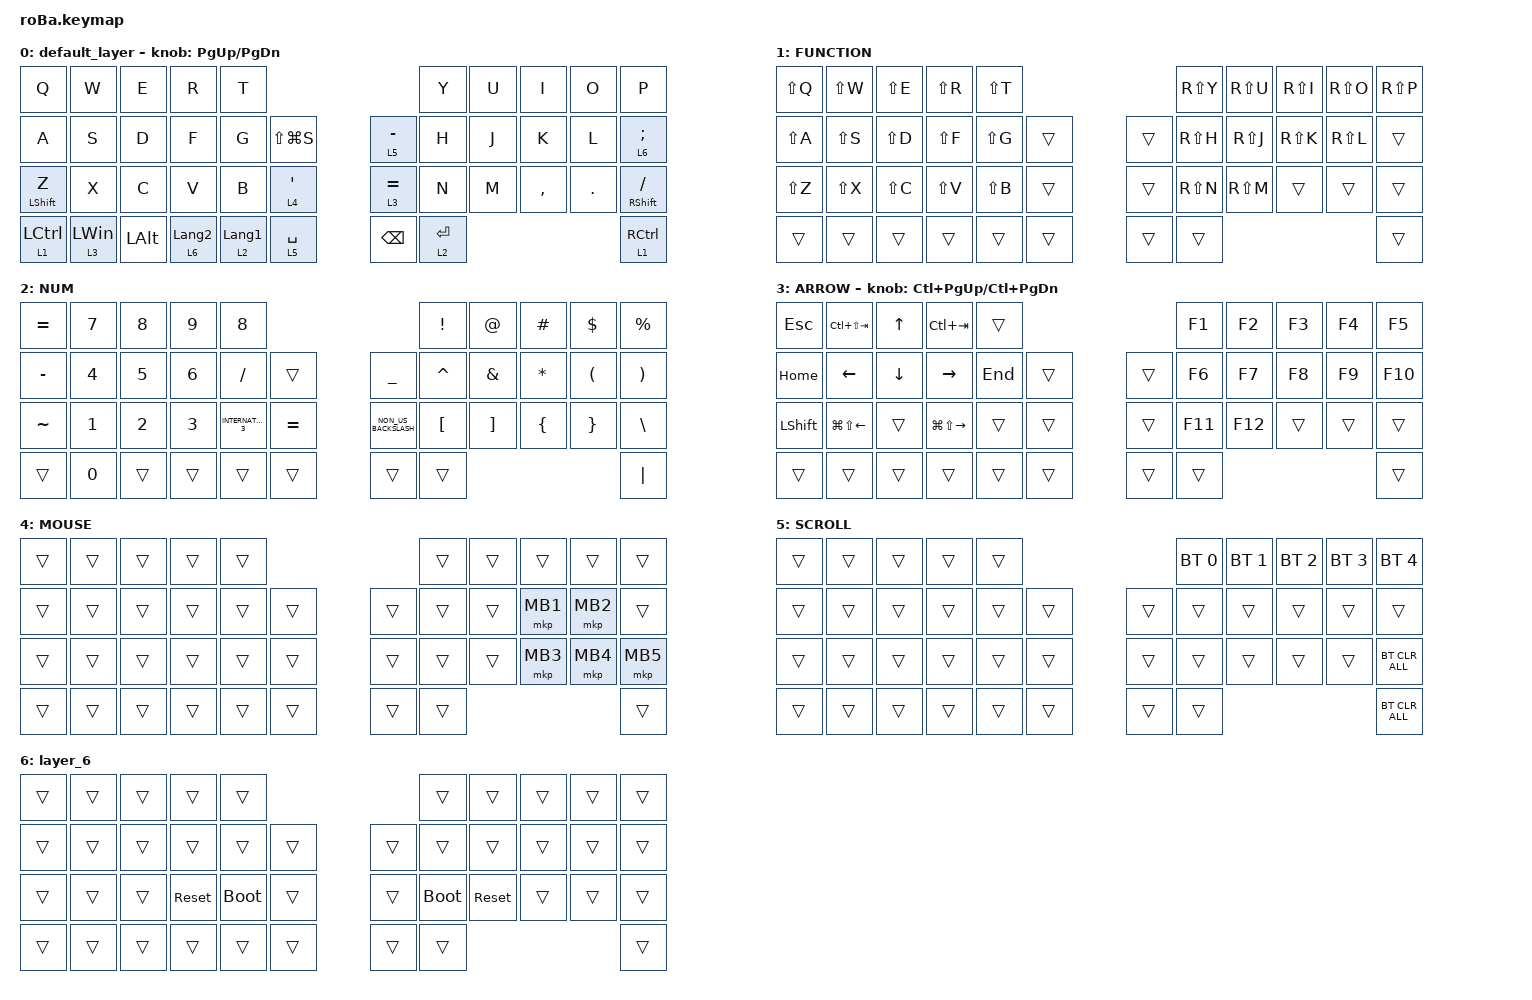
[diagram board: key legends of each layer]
#include <dt-bindings/zmk/input_transform.h> // ★反転と角度調整に必須のファイルを追記しました
#include <behaviors.dtsi>
#include <dt-bindings/zmk/bt.h>
#include <dt-bindings/zmk/keys.h>
#include <dt-bindings/zmk/pointing.h>

&mt {
    flavor = "balanced";
    quick-tap-ms = <0>;
};

&trackball {
    status = "okay"; // ★明示的に有効化しておきます
    automouse-layer = <4>;
    scroll-layers = <5>;

    // arrows {
    //     layers = <3>;
    //     bindings =
    //         <&kp RIGHT_ARROW>,
    //         <&kp LEFT_ARROW>,
    //         <&kp UP_ARROW>,
    //         <&kp DOWN_ARROW>;
    //     tick = <10>;
    //     wait-ms = <5>;
    //     tap-ms = <5>;
    // };
};

/ {
    #ifdef SHIELD_ROBA_R

    trackball_listener {
        status = "okay";
        compatible = "zmk,input-listener";
        device = <&trackball>;

        /* 
         * 【0.3専用修正】
         * 1. 155度の回転
         * 2. X反転・Y反転（Mac等の方向合わせ）
         * 3. 「&zip_xy_scaler 100 120」を追加：横(X)を100%、縦(Y)を120%に補正します。
         * 
         * ※もし「横長の楕円」になる場合は、右側の数値を「130」や「140」に増やしてください。
         * ※もし「縦長の楕円」になる場合は、左側の数値を「120」などに増やしてください。
         */

        input-processors =
            <&zip_xy_transform 155 | INPUT_TRANSFORM_Y_INVERT | INPUT_TRANSFORM_X_INVERT>,
            <&zip_xy_scaler 100 120>;
    };

    #endif

    combos {
        compatible = "zmk,combos";

        tab {
            bindings = <&kp TAB>;
            key-positions = <11 12>;
        };

        shift_tab {
            bindings = <&kp LS(TAB)>;
            key-positions = <12 13>;
        };

        muhennkann {
            bindings = <&to_layer_0 INT_MUHENKAN>;
            key-positions = <11 10>;
        };

        double_quotation {
            bindings = <&kp DOUBLE_QUOTES>;
            key-positions = <20 21>;
        };

        eq {
            bindings = <&kp EQUAL>;
            key-positions = <24 25>;
        };
    };

    macros {
        to_layer_0: to_layer_0 {
            compatible = "zmk,behavior-macro-one-param";
            #binding-cells = <1>;
            bindings = <&to 0 &macro_param_1to1 &kp MACRO_PLACEHOLDER>;
            label = "TO_LAYER_0";
        };
    };

    behaviors {
        lt_to_layer_0: lt_to_layer_0 {
            compatible = "zmk,behavior-hold-tap";
            label = "LAYER_TAP_TO_0";
            bindings = <&mo>, <&to_layer_0>;

            #binding-cells = <2>;
            tapping-term-ms = <200>;
        };
    };

    keymap {
        compatible = "zmk,keymap";

        default_layer {
            bindings = <
&kp Q             &kp W           &kp E         &kp R             &kp T                                                  &kp Y        &kp U  &kp I      &kp O    &kp P
&kp A             &kp S           &kp D         &kp F             &kp G             &kp LS(LG(S))         &lt 5 MINUS    &kp H        &kp J  &kp K      &kp L    &lt 6 SEMICOLON
&mt LEFT_SHIFT Z  &kp X           &kp C         &kp V             &kp B             &lt 4 APOSTROPHE      &lt 3 EQUAL    &kp N        &kp M  &kp COMMA  &kp DOT  &mt RIGHT_SHIFT SLASH
&lt 1 LCTRL       &lt 3 LEFT_WIN  &kp LEFT_ALT  &lt 6 LANGUAGE_2  &lt 2 LANGUAGE_1  &lt 5 SPACE           &kp BACKSPACE  &lt 2 ENTER                             &lt 1 RCTRL
            >;

            sensor-bindings = <&inc_dec_kp PG_UP PAGE_DOWN>;
        };

        FUNCTION {
            bindings = <
&kp LS(Q)  &kp LS(W)  &kp LS(E)  &kp LS(R)  &kp LS(T)                      &kp RS(Y)  &kp RS(U)  &kp RS(I)  &kp RS(O)  &kp RS(P)
&kp LS(A)  &kp LS(S)  &kp LS(D)  &kp LS(F)  &kp LS(G)  &trans      &trans  &kp RS(H)  &kp RS(J)  &kp RS(K)  &kp RS(L)  &trans
&kp LS(Z)  &kp LS(X)  &kp LS(C)  &kp LS(V)  &kp LS(B)  &trans      &trans  &kp RS(N)  &kp RS(M)  &trans     &trans     &trans
&trans     &trans     &trans     &trans     &trans     &trans      &trans  &trans                                      &trans
            >;
        };

        NUM {
            bindings = <
&kp EQUAL  &kp N7        &kp N8  &kp N9  &kp N8                                                    &kp EXCLAMATION   &kp AT_SIGN        &kp HASH        &kp DOLLAR            &kp PERCENT
&kp MINUS  &kp NUMBER_4  &kp N5  &kp N6  &kp SLASH            &trans         &kp UNDERSCORE        &kp CARET         &kp AMPERSAND      &kp ASTERISK    &kp LEFT_PARENTHESIS  &kp RIGHT_PARENTHESIS
&kp TILDE  &kp N1        &kp N2  &kp N3  &kp INTERNATIONAL_3  &kp EQUAL      &kp NON_US_BACKSLASH  &kp LEFT_BRACKET  &kp RIGHT_BRACKET  &kp LEFT_BRACE  &kp RIGHT_BRACE       &kp BACKSLASH
&trans     &kp N0        &trans  &trans  &trans               &trans         &trans                &trans                                                                     &kp PIPE
            >;
        };

        ARROW {
            bindings = <
&kp ESCAPE      &kp LC(LS(TAB))         &kp UP_ARROW    &kp LC(TAB)              &trans                       &kp F1   &kp F2   &kp F3  &kp F4  &kp F5
&kp HOME        &kp LEFT_ARROW          &kp DOWN_ARROW  &kp RIGHT_ARROW          &kp END  &trans      &trans  &kp F6   &kp F7   &kp F8  &kp F9  &kp F10
&kp LEFT_SHIFT  &kp LG(LS(LEFT_ARROW))  &trans          &kp LG(LS(RIGHT_ARROW))  &trans   &trans      &trans  &kp F11  &kp F12  &trans  &trans  &trans
&trans          &trans                  &trans          &trans                   &trans   &trans      &trans  &trans                            &trans
            >;

            sensor-bindings = <&inc_dec_kp LC(PAGE_UP) LC(PAGE_DOWN)>;
        };

        MOUSE {
            bindings = <
&trans  &trans  &trans  &trans  &trans                      &trans  &trans  &trans    &trans    &trans
&trans  &trans  &trans  &trans  &trans  &trans      &trans  &trans  &trans  &mkp MB1  &mkp MB2  &trans
&trans  &trans  &trans  &trans  &trans  &trans      &trans  &trans  &trans  &mkp MB3  &mkp MB4  &mkp MB5
&trans  &trans  &trans  &trans  &trans  &trans      &trans  &trans                              &trans
            >;
        };

        SCROLL {
            bindings = <
&trans  &trans  &trans  &trans  &trans                      &bt BT_SEL 0  &bt BT_SEL 1  &bt BT_SEL 2  &bt BT_SEL 3  &bt BT_SEL 4
&trans  &trans  &trans  &trans  &trans  &trans      &trans  &trans        &trans        &trans        &trans        &trans
&trans  &trans  &trans  &trans  &trans  &trans      &trans  &trans        &trans        &trans        &trans        &bt BT_CLR_ALL
&trans  &trans  &trans  &trans  &trans  &trans      &trans  &trans                                                  &bt BT_CLR_ALL
            >;
        };

        layer_6 {
            bindings = <
&trans  &trans  &trans  &trans      &trans                           &trans       &trans      &trans  &trans  &trans
&trans  &trans  &trans  &trans      &trans       &trans      &trans  &trans       &trans      &trans  &trans  &trans
&trans  &trans  &trans  &sys_reset  &bootloader  &trans      &trans  &bootloader  &sys_reset  &trans  &trans  &trans
&trans  &trans  &trans  &trans      &trans       &trans      &trans  &trans                                   &trans
            >;
        };
    };
};
